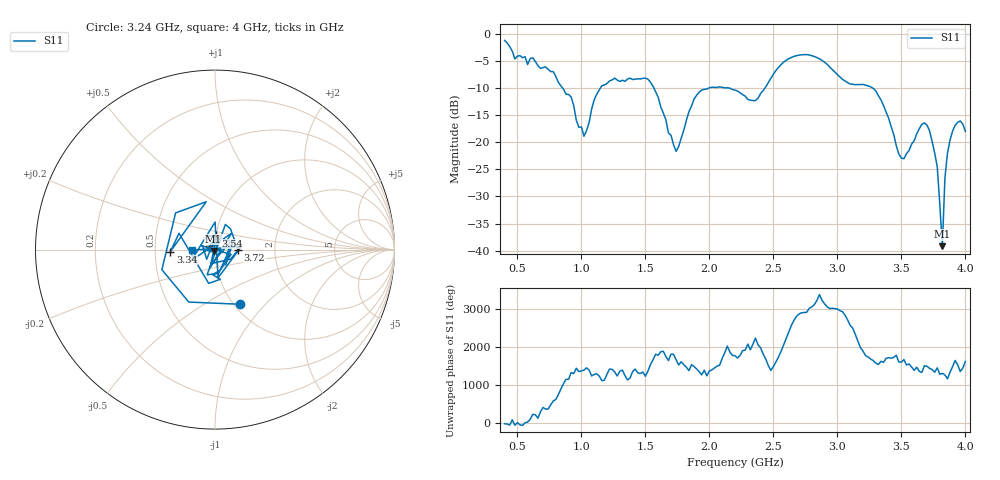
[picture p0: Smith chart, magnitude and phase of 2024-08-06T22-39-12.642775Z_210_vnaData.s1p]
!Created with skrf (http://scikit-rf.org).
# Hz S RI R 50.0
!freq ReS11 ImS11
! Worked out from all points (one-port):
!   181 points, 400 MHz to 4 GHz, reference 50 ohm
!   lowest |S11| = -39.2 dB at 3.82 GHz (marker M1), VSWR 1.02, Z = 49.2 - j0.78 ohm
!   |S11| at or under -10 dB: 855.5 MHz to 1.147 GHz (291.2 MHz wide, 29.1 % of centre); 1.568 GHz to 1.99 GHz (422.3 MHz wide, 23.7 % of centre); 3.28 GHz to end of sweep (the widest 3 of 4)
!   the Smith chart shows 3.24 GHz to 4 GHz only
!   S11 on the Smith chart (normalised r, x): 3.24 GHz: 1.06, -0.73; 3.34 GHz: 0.60, -0.01; 3.54 GHz: 1.00, +0.16; 3.72 GHz: 1.29, -0.01; 4 GHz: 0.78, -0.01
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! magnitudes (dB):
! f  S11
! 400 MHz  -1.1
! 480 MHz  -4.6
! 860 MHz  -10.1
! 1.02 GHz  -18.9
! 1.16 GHz  -9.5
! 1.3 GHz  -8.7
! 1.52 GHz  -8.3
! 1.74 GHz  -21.6
! 1.76 GHz  -20.8
! 1.92 GHz  -10.7
! 2.2 GHz  -10.3
! 2.36 GHz  -12.3
! 2.66 GHz  -4.1
! 2.86 GHz  -4.5
! 3.1 GHz  -9.2
! 3.24 GHz  -9.5
! 3.34 GHz  -12.1
! 3.48 GHz  -22.2
! 3.54 GHz  -22.1
! 3.56 GHz  -21.5
! 3.66 GHz  -16.6
! 3.72 GHz  -17.9
! 3.78 GHz  -24.5
! 3.82 GHz  -39.2
! 3.84 GHz  -26.6
! 3.88 GHz  -19.6
! 3.94 GHz  -16.3
! 4 GHz  -18.0
